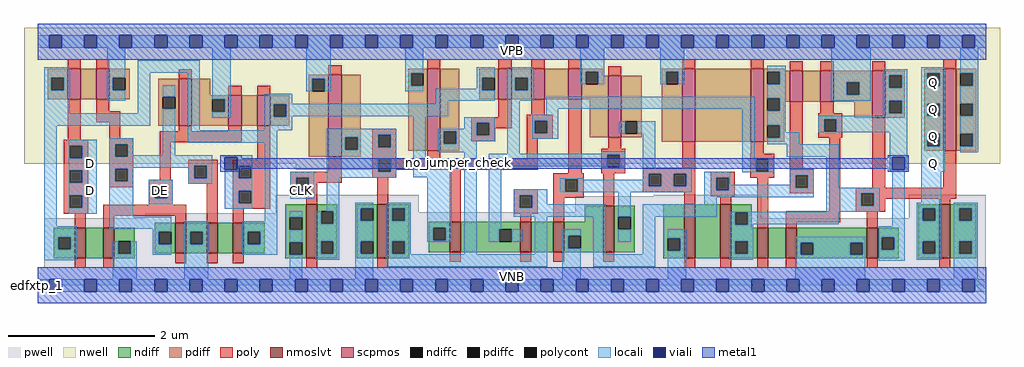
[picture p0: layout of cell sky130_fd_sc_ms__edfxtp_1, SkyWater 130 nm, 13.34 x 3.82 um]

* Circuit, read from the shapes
.subckt sky130_fd_sc_ms__edfxtp_1 CLK D DE VGND VNB VPB VPWR Q
XM1 n1 D n2 VNB sky130_fd_pr__nfet_01v8_lvt w=0.42 l=0.15
XM2 VGND DE n1 VNB sky130_fd_pr__nfet_01v8_lvt w=0.42 l=0.15
XM3 VGND DE n3 VNB sky130_fd_pr__nfet_01v8_lvt w=0.42 l=0.15
XM4 n4 n3 VGND VNB sky130_fd_pr__nfet_01v8_lvt w=0.42 l=0.15
XM5 n2 n5 n4 VNB sky130_fd_pr__nfet_01v8_lvt w=0.42 l=0.15
XM6 n6 CLK VGND VNB sky130_fd_pr__nfet_01v8_lvt w=0.74 l=0.15
XM7 n7 n6 VGND VNB sky130_fd_pr__nfet_01v8_lvt w=0.74 l=0.15
XM8 n8 n6 n2 VNB sky130_fd_pr__nfet_01v8_lvt w=0.42 l=0.15
XM9 n9 n7 n8 VNB sky130_fd_pr__nfet_01v8_lvt w=0.42 l=0.15
XM10 VGND n10 n9 VNB sky130_fd_pr__nfet_01v8_lvt w=0.42 l=0.15
XM11 n10 n8 VGND VNB sky130_fd_pr__nfet_01v8_lvt w=0.64 l=0.15
XM12 n11 n10 VGND VNB sky130_fd_pr__nfet_01v8_lvt w=0.74 l=0.15
XM13 n12 n7 n11 VNB sky130_fd_pr__nfet_01v8_lvt w=0.74 l=0.15
XM14 n13 n6 n12 VNB sky130_fd_pr__nfet_01v8_lvt w=0.42 l=0.15
XM15 VGND n5 n13 VNB sky130_fd_pr__nfet_01v8_lvt w=0.42 l=0.15
XM16 n5 n12 VGND VNB sky130_fd_pr__nfet_01v8_lvt w=0.42 l=0.15
XM17 VGND n12 Q VNB sky130_fd_pr__nfet_01v8_lvt w=0.74 l=0.15
XM18 n14 D n2 VPB sky130_fd_pr__pfet_01v8 w=0.42 l=0.18
XM19 VPWR n3 n14 VPB sky130_fd_pr__pfet_01v8 w=0.42 l=0.18
XM20 VPWR DE n3 VPB sky130_fd_pr__pfet_01v8 w=0.64 l=0.18
XM21 n15 DE VPWR VPB sky130_fd_pr__pfet_01v8 w=0.42 l=0.18
XM22 n2 n5 n15 VPB sky130_fd_pr__pfet_01v8 w=0.42 l=0.18
XM23 n6 CLK VPWR VPB sky130_fd_pr__pfet_01v8 w=1.12 l=0.18
XM24 n7 n6 VPWR VPB sky130_fd_pr__pfet_01v8 w=1.12 l=0.18
XM25 n8 n7 n2 VPB sky130_fd_pr__pfet_01v8 w=0.42 l=0.18
XM26 n16 n6 n8 VPB sky130_fd_pr__pfet_01v8 w=0.42 l=0.18
XM27 VPWR n10 n16 VPB sky130_fd_pr__pfet_01v8 w=0.42 l=0.18
XM28 n10 n8 VPWR VPB sky130_fd_pr__pfet_01v8 w=0.84 l=0.18
XM29 n17 n10 VPWR VPB sky130_fd_pr__pfet_01v8 w=1 l=0.18
XM30 n12 n6 n17 VPB sky130_fd_pr__pfet_01v8 w=1 l=0.18
XM31 n18 n7 n12 VPB sky130_fd_pr__pfet_01v8 w=0.42 l=0.18
XM32 VPWR n5 n18 VPB sky130_fd_pr__pfet_01v8 w=0.42 l=0.18
XM33 n5 n12 VPWR VPB sky130_fd_pr__pfet_01v8 w=0.64 l=0.18
XM34 VPWR n12 Q VPB sky130_fd_pr__pfet_01v8 w=1.12 l=0.18
.ends

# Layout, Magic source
magic
tech sky130A
magscale 1 2
<< nwell >>
rect -38 332 2630 704
rect 705 316 918 332
<< pwell >>
rect 650 200 1041 248
rect 1684 244 1978 248
rect 1469 200 1978 244
rect 650 197 1978 200
rect 293 184 1978 197
rect 2381 184 2591 248
rect 18 49 2591 184
rect 0 0 2592 49
<< scpmos >>
rect 81 508 117 592
rect 159 508 195 592
rect 385 436 421 564
rect 521 436 557 520
rect 599 436 635 520
rect 794 352 830 576
rect 1064 368 1100 592
rect 1259 508 1295 592
rect 1349 508 1385 592
rect 1450 508 1486 592
rect 1559 405 1595 573
rect 1761 392 1797 592
rect 1948 392 1984 592
rect 2055 502 2091 586
rect 2139 502 2175 586
rect 2281 458 2317 586
rect 2475 368 2511 592
<< nmoslvt >>
rect 101 74 131 158
rect 179 74 209 158
rect 375 87 405 171
rect 461 87 491 171
rect 533 87 563 171
rect 733 74 763 222
rect 928 74 958 222
rect 1126 90 1156 174
rect 1319 90 1349 174
rect 1409 90 1439 174
rect 1545 90 1575 218
rect 1767 74 1797 222
rect 1865 74 1895 222
rect 1967 74 1997 158
rect 2045 74 2075 158
rect 2266 74 2296 158
rect 2464 74 2494 222
<< ndiff >>
rect 676 186 733 222
rect 44 132 101 158
rect 44 98 56 132
rect 90 98 101 132
rect 44 74 101 98
rect 131 74 179 158
rect 209 120 265 158
rect 209 86 220 120
rect 254 86 265 120
rect 319 146 375 171
rect 319 112 330 146
rect 364 112 375 146
rect 319 87 375 112
rect 405 146 461 171
rect 405 112 416 146
rect 450 112 461 146
rect 405 87 461 112
rect 491 87 533 171
rect 563 146 620 171
rect 563 112 574 146
rect 608 112 620 146
rect 563 87 620 112
rect 676 152 688 186
rect 722 152 733 186
rect 676 118 733 152
rect 209 74 265 86
rect 676 84 688 118
rect 722 84 733 118
rect 676 74 733 84
rect 763 202 818 222
rect 763 168 774 202
rect 808 168 818 202
rect 763 120 818 168
rect 763 86 774 120
rect 808 86 818 120
rect 763 74 818 86
rect 872 210 928 222
rect 872 176 883 210
rect 917 176 928 210
rect 872 120 928 176
rect 872 86 883 120
rect 917 86 928 120
rect 872 74 928 86
rect 958 210 1015 222
rect 958 176 969 210
rect 1003 176 1015 210
rect 958 120 1015 176
rect 1495 174 1545 218
rect 958 86 969 120
rect 1003 86 1015 120
rect 1069 157 1126 174
rect 1069 123 1081 157
rect 1115 123 1126 157
rect 1069 90 1126 123
rect 1156 153 1319 174
rect 1156 119 1261 153
rect 1295 119 1319 153
rect 1156 90 1319 119
rect 1349 90 1409 174
rect 1439 136 1545 174
rect 1439 102 1450 136
rect 1484 102 1545 136
rect 1439 90 1545 102
rect 1575 187 1632 218
rect 1575 153 1586 187
rect 1620 153 1632 187
rect 1575 90 1632 153
rect 1710 128 1767 222
rect 1710 94 1722 128
rect 1756 94 1767 128
rect 958 74 1015 86
rect 1710 74 1767 94
rect 1797 74 1865 222
rect 1895 200 1952 222
rect 1895 166 1906 200
rect 1940 166 1952 200
rect 1895 158 1952 166
rect 2407 210 2464 222
rect 2407 176 2419 210
rect 2453 176 2464 210
rect 1895 120 1967 158
rect 1895 86 1906 120
rect 1940 86 1967 120
rect 1895 74 1967 86
rect 1997 74 2045 158
rect 2075 117 2266 158
rect 2075 83 2086 117
rect 2120 83 2221 117
rect 2255 83 2266 117
rect 2075 74 2266 83
rect 2296 131 2353 158
rect 2296 97 2307 131
rect 2341 97 2353 131
rect 2296 74 2353 97
rect 2407 120 2464 176
rect 2407 86 2419 120
rect 2453 86 2464 120
rect 2407 74 2464 86
rect 2494 210 2565 222
rect 2494 176 2519 210
rect 2553 176 2565 210
rect 2494 120 2565 176
rect 2494 86 2519 120
rect 2553 86 2565 120
rect 2494 74 2565 86
<< pdiff >>
rect 27 567 81 592
rect 27 533 37 567
rect 71 533 81 567
rect 27 508 81 533
rect 117 508 159 592
rect 195 567 251 592
rect 195 533 205 567
rect 239 533 251 567
rect 1012 580 1064 592
rect 741 564 794 576
rect 195 508 251 533
rect 329 516 385 564
rect 329 482 341 516
rect 375 482 385 516
rect 329 436 385 482
rect 421 520 471 564
rect 741 530 750 564
rect 784 530 794 564
rect 421 508 521 520
rect 421 474 477 508
rect 511 474 521 508
rect 421 436 521 474
rect 557 436 599 520
rect 635 495 687 520
rect 635 461 645 495
rect 679 461 687 495
rect 635 436 687 461
rect 741 352 794 530
rect 830 405 882 576
rect 1012 546 1020 580
rect 1054 546 1064 580
rect 830 371 840 405
rect 874 371 882 405
rect 830 352 882 371
rect 1012 368 1064 546
rect 1100 421 1152 592
rect 1206 567 1259 592
rect 1206 533 1215 567
rect 1249 533 1259 567
rect 1206 508 1259 533
rect 1295 567 1349 592
rect 1295 533 1305 567
rect 1339 533 1349 567
rect 1295 508 1349 533
rect 1385 508 1450 592
rect 1486 584 1544 592
rect 1486 550 1498 584
rect 1532 573 1544 584
rect 1705 584 1761 592
rect 1532 550 1559 573
rect 1486 508 1559 550
rect 1100 387 1110 421
rect 1144 387 1152 421
rect 1100 368 1152 387
rect 1509 405 1559 508
rect 1595 448 1651 573
rect 1595 414 1605 448
rect 1639 414 1651 448
rect 1595 405 1651 414
rect 1705 550 1717 584
rect 1751 550 1761 584
rect 1705 392 1761 550
rect 1797 392 1948 592
rect 1984 586 2040 592
rect 1984 584 2055 586
rect 1984 550 1994 584
rect 2028 550 2055 584
rect 1984 511 2055 550
rect 1984 477 1994 511
rect 2028 502 2055 511
rect 2091 502 2139 586
rect 2175 555 2281 586
rect 2175 521 2211 555
rect 2245 521 2281 555
rect 2175 502 2281 521
rect 2028 477 2040 502
rect 1984 438 2040 477
rect 1984 404 1994 438
rect 2028 404 2040 438
rect 1984 392 2040 404
rect 2231 458 2281 502
rect 2317 574 2369 586
rect 2317 540 2327 574
rect 2361 540 2369 574
rect 2317 504 2369 540
rect 2317 470 2327 504
rect 2361 470 2369 504
rect 2317 458 2369 470
rect 2423 580 2475 592
rect 2423 546 2431 580
rect 2465 546 2475 580
rect 2423 497 2475 546
rect 2423 463 2431 497
rect 2465 463 2475 497
rect 2423 414 2475 463
rect 2423 380 2431 414
rect 2465 380 2475 414
rect 2423 368 2475 380
rect 2511 580 2565 592
rect 2511 546 2521 580
rect 2555 546 2565 580
rect 2511 497 2565 546
rect 2511 463 2521 497
rect 2555 463 2565 497
rect 2511 414 2565 463
rect 2511 380 2521 414
rect 2555 380 2565 414
rect 2511 368 2565 380
<< ndiffc >>
rect 56 98 90 132
rect 220 86 254 120
rect 330 112 364 146
rect 416 112 450 146
rect 574 112 608 146
rect 688 152 722 186
rect 688 84 722 118
rect 774 168 808 202
rect 774 86 808 120
rect 883 176 917 210
rect 883 86 917 120
rect 969 176 1003 210
rect 969 86 1003 120
rect 1081 123 1115 157
rect 1261 119 1295 153
rect 1450 102 1484 136
rect 1586 153 1620 187
rect 1722 94 1756 128
rect 1906 166 1940 200
rect 2419 176 2453 210
rect 1906 86 1940 120
rect 2086 83 2120 117
rect 2221 83 2255 117
rect 2307 97 2341 131
rect 2419 86 2453 120
rect 2519 176 2553 210
rect 2519 86 2553 120
<< pdiffc >>
rect 37 533 71 567
rect 205 533 239 567
rect 341 482 375 516
rect 750 530 784 564
rect 477 474 511 508
rect 645 461 679 495
rect 1020 546 1054 580
rect 840 371 874 405
rect 1215 533 1249 567
rect 1305 533 1339 567
rect 1498 550 1532 584
rect 1110 387 1144 421
rect 1605 414 1639 448
rect 1717 550 1751 584
rect 1994 550 2028 584
rect 1994 477 2028 511
rect 2211 521 2245 555
rect 1994 404 2028 438
rect 2327 540 2361 574
rect 2327 470 2361 504
rect 2431 546 2465 580
rect 2431 463 2465 497
rect 2431 380 2465 414
rect 2521 546 2555 580
rect 2521 463 2555 497
rect 2521 380 2555 414
<< poly >>
rect 81 592 117 618
rect 159 592 195 618
rect 385 564 421 590
rect 794 576 830 602
rect 1064 592 1100 618
rect 1259 592 1295 618
rect 1349 592 1385 618
rect 1450 592 1486 618
rect 81 398 117 508
rect 159 476 195 508
rect 159 446 225 476
rect 195 402 225 446
rect 521 520 557 546
rect 599 520 635 546
rect 385 421 421 436
rect 521 421 557 436
rect 71 382 137 398
rect 71 348 87 382
rect 121 348 137 382
rect 71 314 137 348
rect 71 280 87 314
rect 121 280 137 314
rect 71 246 137 280
rect 195 386 261 402
rect 195 352 211 386
rect 245 352 261 386
rect 195 318 261 352
rect 195 284 211 318
rect 245 284 261 318
rect 333 391 557 421
rect 333 288 363 391
rect 599 343 635 436
rect 914 412 980 428
rect 914 378 930 412
rect 964 378 980 412
rect 411 327 491 343
rect 411 293 427 327
rect 461 293 491 327
rect 195 268 261 284
rect 303 272 369 288
rect 411 277 491 293
rect 71 212 87 246
rect 121 212 137 246
rect 303 238 319 272
rect 353 238 369 272
rect 303 220 369 238
rect 71 196 137 212
rect 101 158 131 196
rect 179 190 405 220
rect 179 158 209 190
rect 375 171 405 190
rect 461 171 491 277
rect 533 327 635 343
rect 533 293 549 327
rect 583 293 635 327
rect 794 310 830 352
rect 533 259 635 293
rect 533 225 549 259
rect 583 225 635 259
rect 690 294 830 310
rect 914 346 980 378
rect 1559 573 1595 599
rect 1761 592 1797 618
rect 1948 592 1984 618
rect 1259 460 1295 508
rect 1349 466 1385 508
rect 1184 444 1295 460
rect 1184 410 1200 444
rect 1234 430 1295 444
rect 1337 450 1408 466
rect 1234 410 1250 430
rect 1184 394 1250 410
rect 1337 416 1358 450
rect 1392 416 1408 450
rect 1337 400 1408 416
rect 1064 346 1100 368
rect 1337 346 1367 400
rect 914 344 1367 346
rect 914 310 930 344
rect 964 316 1367 344
rect 964 310 980 316
rect 914 294 980 310
rect 690 260 706 294
rect 740 280 830 294
rect 740 260 763 280
rect 690 244 763 260
rect 533 209 635 225
rect 733 222 763 244
rect 928 222 958 294
rect 533 171 563 209
rect 101 48 131 74
rect 179 48 209 74
rect 375 61 405 87
rect 461 61 491 87
rect 533 61 563 87
rect 1126 174 1156 316
rect 1450 306 1486 508
rect 1559 373 1595 405
rect 2055 586 2091 612
rect 2139 586 2175 612
rect 2281 586 2317 612
rect 2475 592 2511 618
rect 1540 357 1606 373
rect 1540 323 1556 357
rect 1590 323 1606 357
rect 1540 307 1606 323
rect 1761 321 1797 392
rect 1948 360 1984 392
rect 1409 290 1492 306
rect 1301 246 1367 262
rect 1301 212 1317 246
rect 1351 212 1367 246
rect 1301 196 1367 212
rect 1409 256 1442 290
rect 1476 256 1492 290
rect 1409 240 1492 256
rect 1319 174 1349 196
rect 1409 174 1439 240
rect 1545 218 1575 307
rect 1654 305 1797 321
rect 1947 344 2013 360
rect 1947 310 1963 344
rect 1997 310 2013 344
rect 1654 271 1670 305
rect 1704 271 1738 305
rect 1772 271 1797 305
rect 1654 255 1797 271
rect 1767 222 1797 255
rect 1839 294 1905 310
rect 1947 294 2013 310
rect 2055 317 2091 502
rect 2139 470 2175 502
rect 2133 454 2199 470
rect 2133 420 2149 454
rect 2183 420 2199 454
rect 2133 404 2199 420
rect 2055 301 2121 317
rect 1839 260 1855 294
rect 1889 260 1905 294
rect 1839 244 1905 260
rect 1865 222 1895 244
rect 733 48 763 74
rect 928 48 958 74
rect 1126 64 1156 90
rect 1319 64 1349 90
rect 1409 64 1439 90
rect 1545 64 1575 90
rect 1967 158 1997 294
rect 2055 267 2071 301
rect 2105 267 2121 301
rect 2055 251 2121 267
rect 2163 203 2193 404
rect 2281 267 2317 458
rect 2475 267 2511 368
rect 2045 173 2193 203
rect 2235 251 2511 267
rect 2235 217 2251 251
rect 2285 237 2511 251
rect 2285 217 2317 237
rect 2464 222 2494 237
rect 2235 201 2317 217
rect 2045 158 2075 173
rect 2266 158 2296 201
rect 1767 48 1797 74
rect 1865 48 1895 74
rect 1967 48 1997 74
rect 2045 48 2075 74
rect 2266 48 2296 74
rect 2464 48 2494 74
<< polycont >>
rect 87 348 121 382
rect 87 280 121 314
rect 211 352 245 386
rect 211 284 245 318
rect 930 378 964 412
rect 427 293 461 327
rect 87 212 121 246
rect 319 238 353 272
rect 549 293 583 327
rect 549 225 583 259
rect 1200 410 1234 444
rect 1358 416 1392 450
rect 930 310 964 344
rect 706 260 740 294
rect 1556 323 1590 357
rect 1317 212 1351 246
rect 1442 256 1476 290
rect 1963 310 1997 344
rect 1670 271 1704 305
rect 1738 271 1772 305
rect 2149 420 2183 454
rect 1855 260 1889 294
rect 2071 267 2105 301
rect 2251 217 2285 251
<< locali >>
rect 0 649 31 683
rect 65 649 127 683
rect 161 649 223 683
rect 257 649 319 683
rect 353 649 415 683
rect 449 649 511 683
rect 545 649 607 683
rect 641 649 703 683
rect 737 649 799 683
rect 833 649 895 683
rect 929 649 991 683
rect 1025 649 1087 683
rect 1121 649 1183 683
rect 1217 649 1279 683
rect 1313 649 1375 683
rect 1409 649 1471 683
rect 1505 649 1567 683
rect 1601 649 1663 683
rect 1697 649 1759 683
rect 1793 649 1855 683
rect 1889 649 1951 683
rect 1985 649 2047 683
rect 2081 649 2143 683
rect 2177 649 2239 683
rect 2273 649 2335 683
rect 2369 649 2431 683
rect 2465 649 2527 683
rect 2561 649 2592 683
rect 17 567 87 596
rect 17 533 37 567
rect 71 533 87 567
rect 17 470 87 533
rect 189 567 239 649
rect 189 533 205 567
rect 189 504 239 533
rect 273 581 443 615
rect 273 470 307 581
rect 17 436 307 470
rect 341 516 375 547
rect 17 162 51 436
rect 85 382 161 398
rect 85 348 87 382
rect 121 348 161 382
rect 85 314 161 348
rect 85 280 87 314
rect 121 280 161 314
rect 85 246 161 280
rect 85 212 87 246
rect 121 212 161 246
rect 85 196 161 212
rect 195 386 261 402
rect 195 352 211 386
rect 245 356 261 386
rect 341 356 375 482
rect 409 424 443 581
rect 477 508 527 649
rect 734 564 800 649
rect 734 530 750 564
rect 784 530 800 564
rect 1004 580 1054 649
rect 1004 546 1020 580
rect 1004 530 1054 546
rect 1199 567 1249 596
rect 1199 538 1215 567
rect 1088 533 1215 538
rect 511 474 527 508
rect 477 458 527 474
rect 620 496 695 524
rect 1088 504 1249 533
rect 1283 567 1355 596
rect 1283 533 1305 567
rect 1339 533 1355 567
rect 1482 584 1548 649
rect 1482 550 1498 584
rect 1532 550 1548 584
rect 1701 584 1767 649
rect 1701 550 1717 584
rect 1751 550 1767 584
rect 1994 584 2044 600
rect 2028 550 2044 584
rect 1283 504 1355 533
rect 1088 496 1122 504
rect 620 495 1122 496
rect 620 461 645 495
rect 679 462 1122 495
rect 679 461 695 462
rect 620 424 695 461
rect 409 390 654 424
rect 245 352 477 356
rect 195 327 477 352
rect 195 322 427 327
rect 195 318 261 322
rect 195 284 211 318
rect 245 284 261 318
rect 411 293 427 322
rect 461 293 477 327
rect 195 188 261 284
rect 303 272 369 288
rect 411 277 477 293
rect 511 350 586 356
rect 545 327 586 350
rect 545 316 549 327
rect 511 293 549 316
rect 583 293 586 327
rect 303 238 319 272
rect 353 238 369 272
rect 303 222 369 238
rect 511 259 586 293
rect 511 225 549 259
rect 583 225 586 259
rect 511 209 586 225
rect 17 132 106 162
rect 195 154 364 188
rect 620 175 654 390
rect 790 412 980 428
rect 790 405 930 412
rect 790 371 840 405
rect 874 378 930 405
rect 964 378 980 412
rect 874 371 980 378
rect 790 344 980 371
rect 790 310 930 344
rect 964 310 980 344
rect 690 294 756 310
rect 690 260 706 294
rect 740 260 756 294
rect 690 236 756 260
rect 790 294 980 310
rect 1026 330 1060 462
rect 1165 444 1249 460
rect 1165 428 1200 444
rect 1094 421 1200 428
rect 1094 387 1110 421
rect 1144 410 1200 421
rect 1234 410 1249 444
rect 1144 394 1249 410
rect 1144 387 1199 394
rect 1094 364 1199 387
rect 1026 296 1131 330
rect 790 202 824 294
rect 17 98 56 132
rect 90 98 106 132
rect 314 146 364 154
rect 17 68 106 98
rect 204 86 220 120
rect 254 86 270 120
rect 204 17 270 86
rect 314 112 330 146
rect 314 83 364 112
rect 400 146 466 175
rect 400 112 416 146
rect 450 112 466 146
rect 400 17 466 112
rect 558 146 654 175
rect 558 112 574 146
rect 608 112 654 146
rect 558 83 654 112
rect 688 186 722 202
rect 688 118 722 152
rect 688 17 722 84
rect 758 168 774 202
rect 808 168 824 202
rect 758 120 824 168
rect 758 86 774 120
rect 808 86 824 120
rect 758 70 824 86
rect 867 210 917 226
rect 867 176 883 210
rect 867 120 917 176
rect 867 86 883 120
rect 867 17 917 86
rect 953 210 1019 226
rect 953 176 969 210
rect 1003 176 1019 210
rect 953 120 1019 176
rect 953 86 969 120
rect 1003 86 1019 120
rect 1065 157 1131 296
rect 1065 123 1081 157
rect 1115 123 1131 157
rect 1065 119 1131 123
rect 953 85 1019 86
rect 1165 85 1199 364
rect 1283 360 1317 504
rect 1389 482 1960 516
rect 1389 466 1423 482
rect 1351 450 1423 466
rect 1351 416 1358 450
rect 1392 416 1423 450
rect 1351 400 1423 416
rect 1589 414 1605 448
rect 1639 414 1688 448
rect 1540 360 1606 366
rect 1233 357 1606 360
rect 1233 326 1556 357
rect 1233 153 1267 326
rect 1540 323 1556 326
rect 1590 323 1606 357
rect 1654 321 1688 414
rect 1926 345 1960 482
rect 1994 511 2044 550
rect 2028 477 2044 511
rect 2169 555 2277 649
rect 2169 521 2211 555
rect 2245 521 2277 555
rect 2169 505 2277 521
rect 2311 574 2377 590
rect 2311 540 2327 574
rect 2361 540 2377 574
rect 1994 438 2044 477
rect 2311 504 2377 540
rect 2311 470 2327 504
rect 2361 470 2377 504
rect 2311 464 2377 470
rect 2028 419 2044 438
rect 2133 454 2377 464
rect 2133 420 2149 454
rect 2183 420 2377 454
rect 2133 419 2377 420
rect 2028 404 2081 419
rect 1994 385 2081 404
rect 2047 351 2189 385
rect 1926 344 2013 345
rect 1654 305 1788 321
rect 1926 310 1963 344
rect 1997 310 2013 344
rect 1426 290 1492 292
rect 1301 246 1392 262
rect 1426 256 1442 290
rect 1476 289 1492 290
rect 1654 289 1670 305
rect 1476 271 1670 289
rect 1704 271 1738 305
rect 1772 271 1788 305
rect 1476 256 1788 271
rect 1426 255 1788 256
rect 1822 294 1892 310
rect 1926 309 2013 310
rect 1822 260 1855 294
rect 1889 275 1892 294
rect 2055 301 2121 317
rect 2055 275 2071 301
rect 1889 267 2071 275
rect 2105 267 2121 301
rect 1889 260 2121 267
rect 1301 212 1317 246
rect 1351 221 1392 246
rect 1351 212 1552 221
rect 1301 187 1552 212
rect 1233 119 1261 153
rect 1295 119 1324 153
rect 1358 85 1392 187
rect 953 51 1392 85
rect 1434 136 1484 153
rect 1434 102 1450 136
rect 1434 17 1484 102
rect 1518 85 1552 187
rect 1586 187 1620 255
rect 1822 241 2121 260
rect 2155 267 2189 351
rect 2329 350 2377 419
rect 2329 316 2335 350
rect 2369 316 2377 350
rect 2329 310 2377 316
rect 2415 580 2481 596
rect 2415 546 2431 580
rect 2465 546 2481 580
rect 2415 497 2481 546
rect 2415 463 2431 497
rect 2465 463 2481 497
rect 2415 414 2481 463
rect 2415 380 2431 414
rect 2465 380 2481 414
rect 2415 310 2481 380
rect 2521 580 2571 649
rect 2555 546 2571 580
rect 2521 497 2571 546
rect 2555 463 2571 497
rect 2521 414 2571 463
rect 2555 380 2571 414
rect 2521 364 2571 380
rect 2155 251 2301 267
rect 1822 221 1856 241
rect 1586 119 1620 153
rect 1654 187 1856 221
rect 2155 217 2251 251
rect 2285 217 2301 251
rect 2155 201 2301 217
rect 1890 200 2189 201
rect 1654 85 1688 187
rect 1890 166 1906 200
rect 1940 167 2189 200
rect 1940 166 1956 167
rect 1518 51 1688 85
rect 1722 128 1772 153
rect 1756 94 1772 128
rect 1722 17 1772 94
rect 1890 120 1956 166
rect 2335 162 2369 310
rect 2415 226 2469 310
rect 1890 86 1906 120
rect 1940 86 1956 120
rect 1890 70 1956 86
rect 2070 117 2262 133
rect 2070 83 2086 117
rect 2120 83 2221 117
rect 2255 83 2262 117
rect 2070 17 2262 83
rect 2298 131 2369 162
rect 2298 97 2307 131
rect 2341 97 2369 131
rect 2298 67 2369 97
rect 2403 210 2469 226
rect 2403 176 2419 210
rect 2453 176 2469 210
rect 2403 120 2469 176
rect 2403 86 2419 120
rect 2453 86 2469 120
rect 2403 70 2469 86
rect 2503 210 2569 226
rect 2503 176 2519 210
rect 2553 176 2569 210
rect 2503 120 2569 176
rect 2503 86 2519 120
rect 2553 86 2569 120
rect 2503 17 2569 86
rect 0 -17 31 17
rect 65 -17 127 17
rect 161 -17 223 17
rect 257 -17 319 17
rect 353 -17 415 17
rect 449 -17 511 17
rect 545 -17 607 17
rect 641 -17 703 17
rect 737 -17 799 17
rect 833 -17 895 17
rect 929 -17 991 17
rect 1025 -17 1087 17
rect 1121 -17 1183 17
rect 1217 -17 1279 17
rect 1313 -17 1375 17
rect 1409 -17 1471 17
rect 1505 -17 1567 17
rect 1601 -17 1663 17
rect 1697 -17 1759 17
rect 1793 -17 1855 17
rect 1889 -17 1951 17
rect 1985 -17 2047 17
rect 2081 -17 2143 17
rect 2177 -17 2239 17
rect 2273 -17 2335 17
rect 2369 -17 2431 17
rect 2465 -17 2527 17
rect 2561 -17 2592 17
<< viali >>
rect 31 649 65 683
rect 127 649 161 683
rect 223 649 257 683
rect 319 649 353 683
rect 415 649 449 683
rect 511 649 545 683
rect 607 649 641 683
rect 703 649 737 683
rect 799 649 833 683
rect 895 649 929 683
rect 991 649 1025 683
rect 1087 649 1121 683
rect 1183 649 1217 683
rect 1279 649 1313 683
rect 1375 649 1409 683
rect 1471 649 1505 683
rect 1567 649 1601 683
rect 1663 649 1697 683
rect 1759 649 1793 683
rect 1855 649 1889 683
rect 1951 649 1985 683
rect 2047 649 2081 683
rect 2143 649 2177 683
rect 2239 649 2273 683
rect 2335 649 2369 683
rect 2431 649 2465 683
rect 2527 649 2561 683
rect 511 316 545 350
rect 2335 316 2369 350
rect 31 -17 65 17
rect 127 -17 161 17
rect 223 -17 257 17
rect 319 -17 353 17
rect 415 -17 449 17
rect 511 -17 545 17
rect 607 -17 641 17
rect 703 -17 737 17
rect 799 -17 833 17
rect 895 -17 929 17
rect 991 -17 1025 17
rect 1087 -17 1121 17
rect 1183 -17 1217 17
rect 1279 -17 1313 17
rect 1375 -17 1409 17
rect 1471 -17 1505 17
rect 1567 -17 1601 17
rect 1663 -17 1697 17
rect 1759 -17 1793 17
rect 1855 -17 1889 17
rect 1951 -17 1985 17
rect 2047 -17 2081 17
rect 2143 -17 2177 17
rect 2239 -17 2273 17
rect 2335 -17 2369 17
rect 2431 -17 2465 17
rect 2527 -17 2561 17
<< metal1 >>
rect 0 683 2592 715
rect 0 649 31 683
rect 65 649 127 683
rect 161 649 223 683
rect 257 649 319 683
rect 353 649 415 683
rect 449 649 511 683
rect 545 649 607 683
rect 641 649 703 683
rect 737 649 799 683
rect 833 649 895 683
rect 929 649 991 683
rect 1025 649 1087 683
rect 1121 649 1183 683
rect 1217 649 1279 683
rect 1313 649 1375 683
rect 1409 649 1471 683
rect 1505 649 1567 683
rect 1601 649 1663 683
rect 1697 649 1759 683
rect 1793 649 1855 683
rect 1889 649 1951 683
rect 1985 649 2047 683
rect 2081 649 2143 683
rect 2177 649 2239 683
rect 2273 649 2335 683
rect 2369 649 2431 683
rect 2465 649 2527 683
rect 2561 649 2592 683
rect 0 617 2592 649
rect 499 350 557 356
rect 499 316 511 350
rect 545 347 557 350
rect 2323 350 2381 356
rect 2323 347 2335 350
rect 545 319 2335 347
rect 545 316 557 319
rect 499 310 557 316
rect 2323 316 2335 319
rect 2369 316 2381 350
rect 2323 310 2381 316
rect 0 17 2592 49
rect 0 -17 31 17
rect 65 -17 127 17
rect 161 -17 223 17
rect 257 -17 319 17
rect 353 -17 415 17
rect 449 -17 511 17
rect 545 -17 607 17
rect 641 -17 703 17
rect 737 -17 799 17
rect 833 -17 895 17
rect 929 -17 991 17
rect 1025 -17 1087 17
rect 1121 -17 1183 17
rect 1217 -17 1279 17
rect 1313 -17 1375 17
rect 1409 -17 1471 17
rect 1505 -17 1567 17
rect 1601 -17 1663 17
rect 1697 -17 1759 17
rect 1793 -17 1855 17
rect 1889 -17 1951 17
rect 1985 -17 2047 17
rect 2081 -17 2143 17
rect 2177 -17 2239 17
rect 2273 -17 2335 17
rect 2369 -17 2431 17
rect 2465 -17 2527 17
rect 2561 -17 2592 17
rect 0 -49 2592 -17
<< labels >>
flabel pwell s 0 0 2592 49 0 FreeSans 200 0 0 0 VNB
port 5 nsew ground bidirectional
flabel nwell s 0 617 2592 666 0 FreeSans 200 0 0 0 VPB
port 6 nsew power bidirectional
rlabel comment s 0 0 0 0 4 edfxtp_1
flabel comment s 1150 337 1150 337 0 FreeSans 200 0 0 0 no_jumper_check
flabel metal1 s 0 617 2592 666 0 FreeSans 340 0 0 0 VPWR
port 7 nsew power bidirectional
flabel metal1 s 0 0 2592 49 0 FreeSans 340 0 0 0 VGND
port 4 nsew ground bidirectional
flabel locali s 319 242 353 276 0 FreeSans 340 0 0 0 DE
port 3 nsew signal input
flabel locali s 127 242 161 276 0 FreeSans 340 0 0 0 D
port 2 nsew signal input
flabel locali s 127 316 161 350 0 FreeSans 340 0 0 0 D
port 2 nsew signal input
flabel locali s 703 242 737 276 0 FreeSans 340 0 0 0 CLK
port 1 nsew clock input
flabel locali s 2431 316 2465 350 0 FreeSans 340 0 0 0 Q
port 8 nsew signal output
flabel locali s 2431 390 2465 424 0 FreeSans 340 0 0 0 Q
port 8 nsew signal output
flabel locali s 2431 464 2465 498 0 FreeSans 340 0 0 0 Q
port 8 nsew signal output
flabel locali s 2431 538 2465 572 0 FreeSans 340 0 0 0 Q
port 8 nsew signal output
<< properties >>
string LEFsite unit
string LEFclass CORE
string FIXED_BBOX 0 0 2592 666
string GDS_FILE $PDKPATH/libs.ref/sky130_fd_sc_ms/gds/sky130_fd_sc_ms.gds
string LEFsymmetry X Y
string GDS_END 2213716
string GDS_START 2195752
<< end >>
